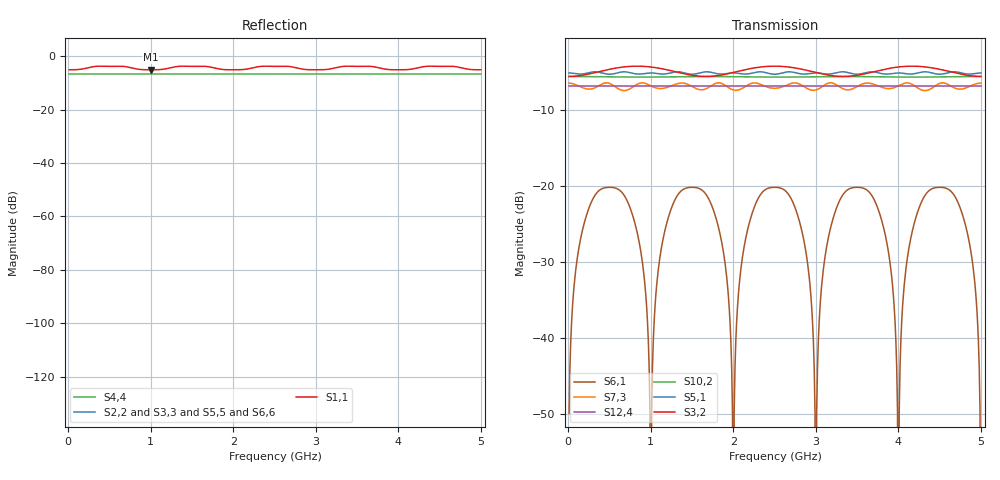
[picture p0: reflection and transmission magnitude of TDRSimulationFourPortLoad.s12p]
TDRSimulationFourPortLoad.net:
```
device T1 2 tline zc 60.0 td 5e-10
device Load 1 R 50.00001
voltagesource VG1 1
device T2 2 tline zc 55.0 td 1e-09
device T3 2 tline zc 55.0 td 4e-10
device T4 2 tline zc 35.0 td 1.1e-09
device D9 2 voltageamplifier gain 1.0 zi 100000000.0 zo 40.0
device D10 2 voltageamplifier gain 1.0 zi 100000000.0 zo 55.0
device T9 2 tline zc 60.0 td 3e-10
device D21 2 voltageamplifier gain 1.0 zi 100000000.0 zo 45.0
device T17 2 tline zc 45.0 td 1.2e-09
device T10 2 tline zc 50.0 td 6e-10
voltagesource VG3 1
device D1 2 voltageamplifier gain 1.0 zi 100000000.0 zo 60.0
device T12 2 tline zc 50.0 td 9e-10
device R3 1 R 50.0
device D15 3 directionalcoupler
device D16 3 directionalcoupler
device R4 1 R 50.0
device R5 1 R 50.0
device D17 3 directionalcoupler
device D18 3 directionalcoupler
device R6 1 R 50.0
device R7 1 R 50.0
device D19 3 directionalcoupler
device D20 3 directionalcoupler
device R8 1 R 50.0
device R9 1 R 50.0
device D22 3 directionalcoupler
device D23 3 directionalcoupler
device R10 1 R 50.0
voltagesource VG2 1
voltagesource VG4 1
device R1 1 R 50.00001
device R2 1 R 50.00001
device R11 1 R 50.00001
connect T1 1 D16 1
connect T1 2 Load 1
output T2 2
connect T2 2 D15 1
connect VG1 1 D9 1
connect D9 2 T2 1
connect D18 1 T3 1
connect T3 2 R11 1
output D17 1
connect D17 1 T4 2
connect T4 1 D10 2
connect VG2 1 D10 1
connect T9 1 D19 1
connect T9 2 R1 1
output T17 2
connect T17 2 D20 1
connect VG3 1 D21 1
connect D21 2 T17 1
connect T10 1 D22 1
connect T10 2 R2 1
output D23 1
connect D23 1 T12 2
connect D1 1 VG4 1
connect T12 1 D1 2
output R3 1
connect R3 1 D15 3
connect D16 2 D15 2
output D16 3
connect D16 3 R4 1
output R5 1
connect R5 1 D17 3
connect D18 2 D17 2
output D18 3
connect D18 3 R6 1
output R7 1
connect R7 1 D19 3
connect D19 2 D20 2
output D20 3
connect D20 3 R8 1
output D22 3
connect D22 3 R9 1
connect D22 2 D23 2
output R10 1
connect R10 1 D23 3
```
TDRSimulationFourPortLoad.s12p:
# MHz MA S R 50.0
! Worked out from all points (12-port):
!   500 points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, 10 MHz to 5 GHz, reference 50 ohm
!   strongest paths, dB at 10 MHz, 1.26 GHz, 2.51 GHz, 3.76 GHz, 5 GHz:
!     S3,2: -5.6, -4.9, -4.2, -4.8, -5.6
!     S5,1: -5.1, -5.0, -5.3, -5.1, -5.1
!     S10,2: -5.6, -5.6, -5.7, -5.6, -5.6
!     S12,4: -6.8, -6.8, -6.8, -6.8, -6.8
!     S7,3: -6.4, -6.8, -7.1, -6.8, -6.4
!     S6,1: -49.9, -22.6, -20.2, -23.2, -
!   lowest |S11| = -5.1 dB at 1 GHz (marker M1), VSWR 3.50, Z = 175 + j0 ohm
!   |S11| at or under -10 dB: nowhere
